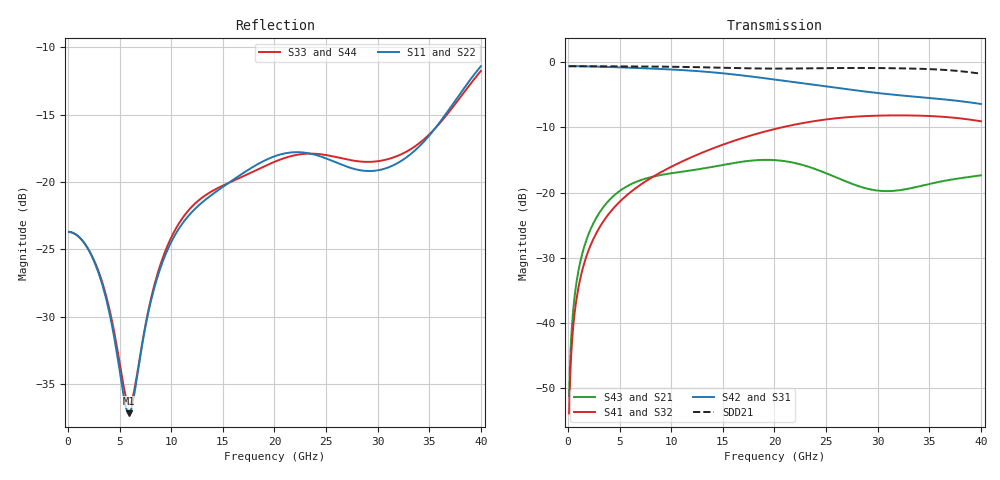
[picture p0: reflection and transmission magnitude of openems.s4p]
! E_s8_L1L8_p800_round_g2: pair L1→L8, pitch 0.8 mm, two round antipads, 2 GND vias
! stackup: 8-layer 1.6 mm FR-4 (generic)
! ports: 1 P near, 2 N near, 3 P far, 4 N far
! openEMS 0.37.0, staircase, fine mesh (dfine 0.0175 mm), 1621620 cells
# Hz S RI R 50
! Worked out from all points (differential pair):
!   400 points, 100 MHz to 40 GHz, reference 50 ohm
!   strongest paths, dB at 100 MHz, 10.1 GHz, 20.1 GHz, 30.1 GHz, 40 GHz:
!     S42: -0.6, -1.1, -2.7, -4.7, -6.4
!     S31: -0.6, -1.1, -2.7, -4.7, -6.4
!     S41: -53.9, -16.0, -10.2, -8.2, -9.0
!     S32: -53.9, -16.0, -10.2, -8.2, -9.0
!     S43: -51.3, -17.0, -15.0, -19.7, -17.4
!     S21: -51.3, -17.0, -15.0, -19.7, -17.4
!   taken as a pair (ports 2,1 in; 4,3 out), SDD21 dB: -0.6, -0.7, -1.0, -0.9, -1.7
!   lowest |S11| = -37.2 dB at 5.9 GHz (marker M1), VSWR 1.03, Z = 48.9 + j0.866 ohm
!   |S11| at or under -10 dB: start of sweep to end of sweep
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1e8  -0.0653 0.00219  0.00111 0.00249  0.9336 -0.0362  0.000658 -0.00191
     0.00111 0.00249  -0.0653 0.00219  0.000658 -0.00191  0.9336 -0.0362
     0.9336 -0.0362  0.00066 -0.00191  -0.0651 0.00222  0.00111 0.00249
     0.00066 -0.00191  0.9336 -0.0362  0.00111 0.00249  -0.0651 0.00222
5.9e9  -0.0106 0.00885  0.0771 -0.0837  -0.5881 -0.6942  -0.0642 0.0748
       0.0771 -0.0837  -0.0106 0.00885  -0.0642 0.0748  -0.5881 -0.6942
       -0.588 -0.6942  -0.0642 0.0748  -0.0105 0.0106  0.0774 -0.0835
       -0.0642 0.0748  -0.588 -0.6942  0.0774 -0.0835  -0.0105 0.0106
1.21e10  0.016 0.0764  -0.1474 0.02  -0.0487 0.8598  0.1868 -0.0289
         -0.1474 0.02  0.016 0.0764  0.1868 -0.0289  -0.0487 0.8598
         -0.0486 0.8599  0.1868 -0.0289  0.0157 0.0802  -0.1475 0.0189
         0.1868 -0.0289  -0.0486 0.8599  -0.1475 0.0189  0.0157 0.0802
1.99e10  -0.0427 -0.1165  0.1774 0.00412  0.1552 -0.7243  -0.3026 0.046
         0.1774 0.00412  -0.0427 -0.1165  -0.3026 0.046  0.1552 -0.7243
         0.1553 -0.7234  -0.3022 0.0459  -0.0408 -0.1111  0.1776 0.00622
         -0.3022 0.0459  0.1553 -0.7234  0.1776 0.00622  -0.0408 -0.1111
2.84e10  -0.0016 0.1104  -0.107 0.027  -0.1085 0.5918  0.3288 -0.2005
         -0.107 0.027  -0.0016 0.1104  0.3288 -0.2005  -0.1085 0.5918
         -0.1086 0.5918  0.3288 -0.2005  -0.00251 0.119  -0.1075 0.0251
         0.3288 -0.2005  -0.1086 0.5918  -0.1075 0.0251  -0.00251 0.119
3.34e10  0.1225 0.0397  0.0969 0.0493  0.5442 -0.0532  -0.3413 -0.1906
         0.0969 0.0493  0.1225 0.0397  -0.3413 -0.1906  0.5442 -0.0532
         0.5437 -0.0537  -0.3413 -0.1901  0.1231 0.0525  0.0959 0.0514
         -0.3413 -0.1901  0.5437 -0.0537  0.0959 0.0514  0.1231 0.0525
4e10  0.00785 -0.269  -0.1273 -0.0444  -0.4163 -0.2416  0.2215 0.2771
      -0.1273 -0.0444  0.00785 -0.269  0.2215 0.2771  -0.4163 -0.2416
      -0.4141 -0.2404  0.2204 0.2757  0.0164 -0.258  -0.1269 -0.0478
      0.2204 0.2757  -0.4141 -0.2404  -0.1269 -0.0478  0.0164 -0.258
